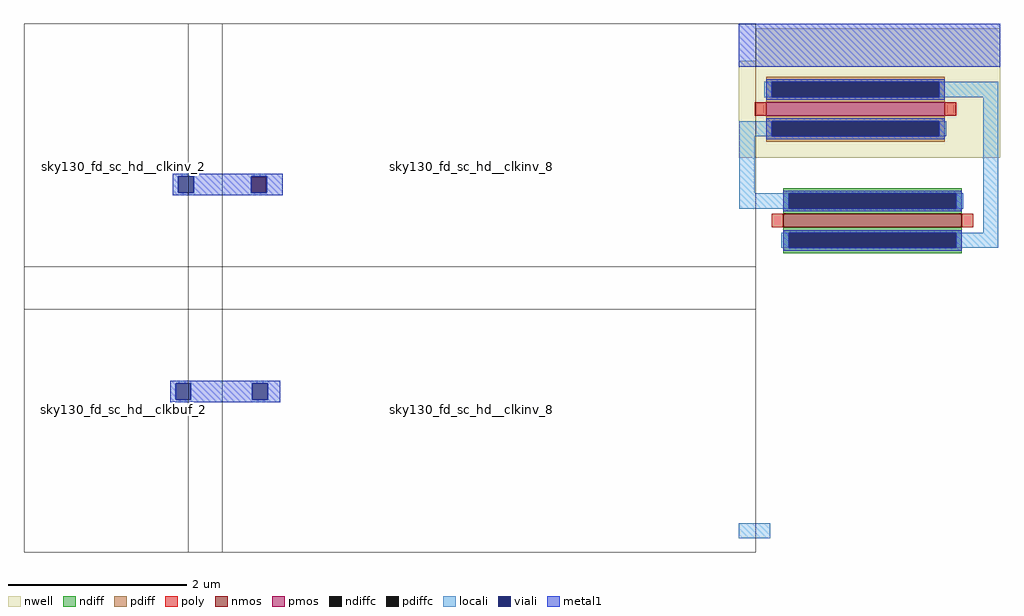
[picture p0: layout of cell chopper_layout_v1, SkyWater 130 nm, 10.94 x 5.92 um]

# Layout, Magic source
magic
tech sky130A
magscale 1 2
<< nwell >>
rect 1640 422 2188 630
rect 1638 388 2188 422
rect 1640 340 2188 388
rect 1634 338 1638 340
<< poly >>
rect 508 260 542 296
<< locali >>
rect 2068 476 2184 510
rect 1604 388 1664 422
rect 508 262 510 296
rect 508 260 542 262
rect 1604 260 1638 388
rect 1604 226 1698 260
rect 2150 172 2184 476
rect 2106 138 2184 172
rect 1602 -513 1673 -479
<< viali >>
rect 346 262 380 298
rect 510 262 544 298
rect 340 -202 374 -166
rect 512 -202 546 -166
<< metal1 >>
rect 1602 544 2188 640
rect 334 298 580 304
rect 334 262 346 298
rect 380 262 510 298
rect 544 262 580 298
rect 334 256 580 262
rect 328 -166 574 -160
rect 328 -202 340 -166
rect 374 -202 512 -166
rect 546 -202 574 -166
rect 328 -208 574 -202
use sky130_fd_pr__nfet_01v8_JB3UY8  sky130_fd_pr__nfet_01v8_JB3UY8_0
transform 0 1 1902 -1 0 199
box -73 -226 73 226
use sky130_fd_pr__pfet_01v8_5YUHNA  sky130_fd_pr__pfet_01v8_5YUHNA_0
transform 0 1 1864 -1 0 449
box -109 -262 109 262
use sky130_fd_sc_hd__clkbuf_2  sky130_fd_sc_hd__clkbuf_2_0 ece393/open_pdks/share/pdk/sky130A/libs.ref/sky130_fd_sc_hd/mag
transform 1 0 38 0 -1 48
box -38 -48 406 592
use sky130_fd_sc_hd__clkinv_2  sky130_fd_sc_hd__clkinv_2_0 ece393/open_pdks/share/pdk/sky130A/libs.ref/sky130_fd_sc_hd/mag
transform 1 0 38 0 1 48
box -38 -48 406 592
use sky130_fd_sc_hd__clkinv_8  sky130_fd_sc_hd__clkinv_8_0 ece393/open_pdks/share/pdk/sky130A/libs.ref/sky130_fd_sc_hd/mag
transform 1 0 406 0 -1 48
box -38 -48 1234 592
use sky130_fd_sc_hd__clkinv_8  sky130_fd_sc_hd__clkinv_8_1
transform 1 0 406 0 1 48
box -38 -48 1234 592
<< end >>

# cell sky130_fd_pr__nfet_01v8_JB3UY8: kit device sky130_fd_pr__nfet_01v8, w 2 l 0.150 m 1 nf 1 diffcov 100 polycov 100 guard 0 glc 0 grc 0 gtc 0 gbc 0 tbcov 100 rlcov 100 topc 0 botc 0 poverlap 0 doverlap 0 lmin 0.15 wmin 0.42 compatible {sky130_fd_pr__nfet_01v8 sky130_fd_pr__nfet_01v8_lvt sky130_fd_bs_flash__special_sonosfet_star sky130_fd_pr__nfet_g5v0d10v5 sky130_fd_pr__nfet_05v0_nvt sky130_fd_pr__nfet_03v3_nvt} full_metal 0 viasrc 100 viadrn 100 viagate 100 viagb 0 viagr 0 viagl 0 viagt 0

# cell sky130_fd_pr__pfet_01v8_5YUHNA: kit device sky130_fd_pr__pfet_01v8, w 2 l 0.15 m 1 nf 1 diffcov 100 polycov 100 guard 0 glc 0 grc 0 gtc 0 gbc 0 tbcov 100 rlcov 100 topc 0 botc 0 poverlap 0 doverlap 0 lmin 0.15 wmin 0.42 compatible {sky130_fd_pr__pfet_01v8 sky130_fd_pr__pfet_01v8_lvt sky130_fd_pr__pfet_01v8_hvt sky130_fd_pr__pfet_g5v0d10v5} full_metal 0 viasrc 100 viadrn 100 viagate 100 viagb 0 viagr 0 viagl 0 viagt 0
